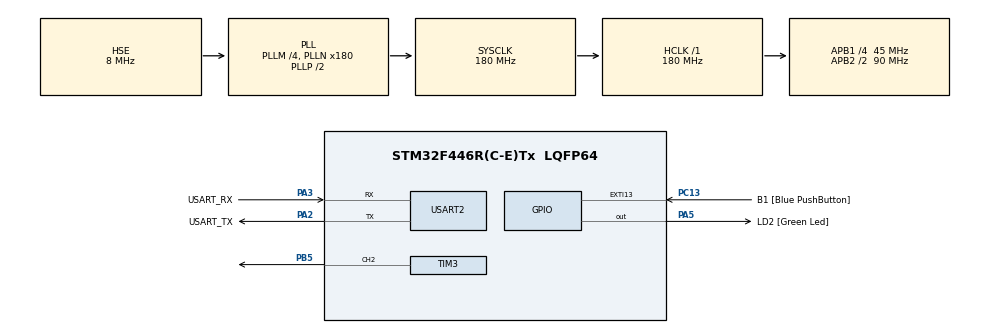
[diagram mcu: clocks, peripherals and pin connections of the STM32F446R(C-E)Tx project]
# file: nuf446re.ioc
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Mcu.Family=STM32F4
Mcu.Name=STM32F446R(C-E)Tx
Mcu.Package=LQFP64
NVIC.PriorityGroup=NVIC_PRIORITYGROUP_0
NVIC.TIM4_IRQn=true\:0\:0\:false\:false\:true\:true\:true\:true
NVIC.TIM8_UP_TIM13_IRQn=true\:0\:0\:true\:false\:true\:true\:true\:true
PA13.GPIO_Label=TMS
PA13.Mode=Trace_Asynchronous_SW
PA13.Signal=SYS_JTMS-SWDIO
PA14.GPIO_Label=TCK
PA14.Mode=Trace_Asynchronous_SW
PA14.Signal=SYS_JTCK-SWCLK
PA2.GPIO_Label=USART_TX
PA2.Mode=Asynchronous
PA2.Signal=USART2_TX
PA3.GPIO_Label=USART_RX
PA3.Mode=Asynchronous
PA3.Signal=USART2_RX
PA5.GPIO_Label=LD2 [Green Led]
PA5.Signal=GPIO_Output
PB3.GPIO_Label=SWO
PB3.Mode=Trace_Asynchronous_SW
PB3.Signal=SYS_JTDO-SWO
PB5.Signal=S_TIM3_CH2
PC13.GPIO_Label=B1 [Blue PushButton]
PC13.GPIO_ModeDefaultEXTI=GPIO_MODE_IT_FALLING
PC13.Signal=GPXTI13
PC14-OSC32_IN.Mode=LSE-External-Oscillator
PC14-OSC32_IN.Signal=RCC_OSC32_IN
PC15-OSC32_OUT.Mode=LSE-External-Oscillator
PC15-OSC32_OUT.Signal=RCC_OSC32_OUT
PH0-OSC_IN.Mode=HSE-External-Oscillator
PH0-OSC_IN.Signal=RCC_OSC_IN
PH1-OSC_OUT.Mode=HSE-External-Oscillator
PH1-OSC_OUT.Signal=RCC_OSC_OUT
ProjectManager.HeapSize=0x200
ProjectManager.StackSize=0x400
ProjectManager.TargetToolchain=STM32CubeIDE
RCC.48MHZClocksFreq_Value=84000000
RCC.AHBFreq_Value=180000000
RCC.APB1CLKDivider=RCC_HCLK_DIV4
RCC.APB1Freq_Value=45000000
RCC.APB1TimFreq_Value=90000000
RCC.APB2CLKDivider=RCC_HCLK_DIV2
RCC.APB2Freq_Value=90000000
RCC.APB2TimFreq_Value=180000000
RCC.CortexFreq_Value=180000000
RCC.FLatency-AdvancedSettings=FLASH_LATENCY_5
RCC.HCLKFreq_Value=180000000
RCC.HSE_VALUE=8000000
RCC.HSI_VALUE=16000000
RCC.PLLM=4
RCC.PLLN=180
RCC.PLLSourceVirtual=RCC_PLLSOURCE_HSE
RCC.SYSCLKFreq_VALUE=180000000
RCC.SYSCLKSource=RCC_SYSCLKSOURCE_PLLCLK
RCC.USBFreq_Value=180000000
RCC.VCOOutputFreq_Value=360000000
SH.S_TIM3_CH2.0=TIM3_CH2,PWM Generation2 CH2
TIM13.AutoReloadPreload=TIM_AUTORELOAD_PRELOAD_DISABLE
TIM13.ClockDivision=TIM_CLOCKDIVISION_DIV4
TIM13.Period=100
TIM13.Prescaler=22500
TIM14.Prescaler=89
TIM3.Channel-PWM\ Generation2\ CH2=TIM_CHANNEL_2
USART2.VirtualMode=VM_ASYNC
VP_TIM13_VS_ClockSourceINT.Mode=Enable_Timer
VP_TIM14_VS_ClockSourceINT.Mode=Enable_Timer
VP_TIM2_VS_ClockSourceINT.Mode=Internal
VP_TIM4_VS_ClockSourceINT.Mode=Internal
VP_TIM5_VS_ClockSourceINT.Mode=Internal
board=NUCLEO-F446RE

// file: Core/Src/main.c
/* USER CODE BEGIN Header */
/**
 ******************************************************************************
 * @file           : main.c
 * @brief          : Main program body
 ******************************************************************************
 * @attention
 *
 * Copyright (c) 2025 STMicroelectronics.
 * All rights reserved.
 *
 * This software is licensed under terms that can be found in the LICENSE file
 * in the root directory of this software component.
 * If no LICENSE file comes with this software, it is provided AS-IS.
 *
 ******************************************************************************
 */
/* USER CODE END Header */
#include "main.h"

/* USER CODE BEGIN Includes */
#include "string.h"
/* USER CODE END Includes */

TIM_HandleTypeDef htim2;
TIM_HandleTypeDef htim3;
TIM_HandleTypeDef htim4;
TIM_HandleTypeDef htim5;
TIM_HandleTypeDef htim13;
TIM_HandleTypeDef htim14;

UART_HandleTypeDef huart2;

/* USER CODE BEGIN PV */
uint8_t UartBuf[0x100];
uint8_t *UartBufPointer;
uint8_t UartDataCount;		// 送信したデータサイズ
uint8_t UartDataSize;		// 送信するデータサイズ
/* USER CODE END PV */

void SystemClock_Config(void);
static void MX_GPIO_Init(void);
static void MX_USART2_UART_Init(void);
static void MX_TIM2_Init(void);
static void MX_TIM3_Init(void);
static void MX_TIM5_Init(void);
static void MX_TIM13_Init(void);
static void MX_TIM14_Init(void);
static void MX_TIM4_Init(void);

/* USER CODE BEGIN 0 */
void HAL_TIM_PeriodElapsedCallback(TIM_HandleTypeDef *htim)
{
	if (htim == &htim13) {
		HAL_GPIO_TogglePin(LD2_GPIO_Port, LD2_Pin);
	}
	else if (htim == &htim4) {
		if (UartDataCount < UartDataSize) {
			huart2.Instance->DR = UartBufPointer[UartDataCount++];
		}
		else {
			HAL_TIM_Base_Stop_IT(&htim14);
		}
	}
}

void uart_transmit(uint8_t *pData, uint16_t size)
{
	UartDataSize = size;
	UartBufPointer = pData;
	__HAL_TIM_SET_COUNTER(&htim4, 0);
	__HAL_TIM_SET_AUTORELOAD(&htim4, 10);
	HAL_TIM_Base_Start_IT(&htim4);		// TIM4スタート

}

/* USER CODE END 0 */

int main(void)
{

	/* MCU Configuration--------------------------------------------------------*/

	/* Reset of all peripherals, Initializes the Flash interface and the Systick. */
	HAL_Init();

	/* Configure the system clock */
	SystemClock_Config();

	/* Initialize all configured peripherals */
	MX_GPIO_Init();
	MX_USART2_UART_Init();
	MX_TIM2_Init();
	MX_TIM3_Init();
	MX_TIM5_Init();
	MX_TIM13_Init();
	MX_TIM14_Init();
	MX_TIM4_Init();
	/* USER CODE BEGIN 2 */

/*
 * 		TIMx Specification
 * -------------------------------------
 * TIM1:	Advanced	APB2(180MHz)	16bit
 * TIM2:	General		APB1(90MHz)		32bit
 * TIM3:	General		APB1(90MHz)		16bit
 * TIM4:	General		APB1(90MHz)		16bit
 * TIM5:	General		APB1(90MHz)		32bit
 * TIM6:	Basic		APB1(90MHz)		16bit
 * TIM7:	Basic		APB1(90MHz)		16bit
 * TIM8:	Advanced	APB2(180MHz)	16bit
 * TIM9:	General		APB2(180MHz)	16bit
 * TIM10:	General		ABP2(180MHz)	16bit
 * TIM11:	General		APB2(180MHz)	16bit
 * TIM12:	General		APB1(90MHz)		16bit
 * TIM13:	General		APB1(90MHz)		16bit	Prescaled to 1kHz. 1cyele = 1ms.
 * TIM14:	General		APB1(90MHz)		16bit	Prescaled to 1MHz. 1cyele = 1us.
 *
*/

	HAL_TIM_Base_Start_IT(&htim13); // TIM13スタート

	// これで1usウェイトになる
	HAL_TIM_Base_Start(&htim14);	   // TIM14スタート
	__HAL_TIM_SET_COUNTER(&htim14, 0); // TIM14カウンタに0をセット
	while (__HAL_TIM_GET_COUNTER(&htim14) < 1); // TIM14カウンタが1未満のときループ

	/* USER CODE END 2 */

	/* Infinite loop */
	while (1)
	{

	}
}

void SystemClock_Config(void)
{
	RCC_OscInitTypeDef RCC_OscInitStruct = {0};
	RCC_ClkInitTypeDef RCC_ClkInitStruct = {0};

	/** Configure the main internal regulator output voltage
	 */
	__HAL_RCC_PWR_CLK_ENABLE();
	__HAL_PWR_VOLTAGESCALING_CONFIG(PWR_REGULATOR_VOLTAGE_SCALE1);

	/** Initializes the RCC Oscillators according to the specified parameters
	 * in the RCC_OscInitTypeDef structure.
	 */
	RCC_OscInitStruct.OscillatorType = RCC_OSCILLATORTYPE_HSE;
	RCC_OscInitStruct.HSEState = RCC_HSE_ON;
	RCC_OscInitStruct.PLL.PLLState = RCC_PLL_ON;
	RCC_OscInitStruct.PLL.PLLSource = RCC_PLLSOURCE_HSE;
	RCC_OscInitStruct.PLL.PLLM = 4;
	RCC_OscInitStruct.PLL.PLLN = 180;
	RCC_OscInitStruct.PLL.PLLP = RCC_PLLP_DIV2;
	RCC_OscInitStruct.PLL.PLLQ = 2;
	RCC_OscInitStruct.PLL.PLLR = 2;
	if (HAL_RCC_OscConfig(&RCC_OscInitStruct) != HAL_OK)
	{
		Error_Handler();
	}

	/** Activate the Over-Drive mode
	 */
	if (HAL_PWREx_EnableOverDrive() != HAL_OK)
	{
		Error_Handler();
	}

	/** Initializes the CPU, AHB and APB buses clocks
	 */
	RCC_ClkInitStruct.ClockType = RCC_CLOCKTYPE_HCLK | RCC_CLOCKTYPE_SYSCLK | RCC_CLOCKTYPE_PCLK1 | RCC_CLOCKTYPE_PCLK2;
	RCC_ClkInitStruct.SYSCLKSource = RCC_SYSCLKSOURCE_PLLCLK;
	RCC_ClkInitStruct.AHBCLKDivider = RCC_SYSCLK_DIV1;
	RCC_ClkInitStruct.APB1CLKDivider = RCC_HCLK_DIV4;
	RCC_ClkInitStruct.APB2CLKDivider = RCC_HCLK_DIV2;

	if (HAL_RCC_ClockConfig(&RCC_ClkInitStruct, FLASH_LATENCY_5) != HAL_OK)
	{
		Error_Handler();
	}
}

static void MX_TIM2_Init(void)
{

	TIM_ClockConfigTypeDef sClockSourceConfig = {0};
	TIM_MasterConfigTypeDef sMasterConfig = {0};

	htim2.Instance = TIM2;
	htim2.Init.Prescaler = 0;
	htim2.Init.CounterMode = TIM_COUNTERMODE_UP;
	htim2.Init.Period = 4294967295;
	htim2.Init.ClockDivision = TIM_CLOCKDIVISION_DIV1;
	htim2.Init.AutoReloadPreload = TIM_AUTORELOAD_PRELOAD_DISABLE;
	if (HAL_TIM_Base_Init(&htim2) != HAL_OK)
	{
		Error_Handler();
	}
	sClockSourceConfig.ClockSource = TIM_CLOCKSOURCE_INTERNAL;
	if (HAL_TIM_ConfigClockSource(&htim2, &sClockSourceConfig) != HAL_OK)
	{
		Error_Handler();
	}
	sMasterConfig.MasterOutputTrigger = TIM_TRGO_RESET;
	sMasterConfig.MasterSlaveMode = TIM_MASTERSLAVEMODE_DISABLE;
	if (HAL_TIMEx_MasterConfigSynchronization(&htim2, &sMasterConfig) != HAL_OK)
	{
		Error_Handler();
	}
}

static void MX_TIM3_Init(void)
{

	TIM_MasterConfigTypeDef sMasterConfig = {0};
	TIM_OC_InitTypeDef sConfigOC = {0};

	htim3.Instance = TIM3;
	htim3.Init.Prescaler = 0;
	htim3.Init.CounterMode = TIM_COUNTERMODE_UP;
	htim3.Init.Period = 65535;
	htim3.Init.ClockDivision = TIM_CLOCKDIVISION_DIV1;
	htim3.Init.AutoReloadPreload = TIM_AUTORELOAD_PRELOAD_DISABLE;
	if (HAL_TIM_PWM_Init(&htim3) != HAL_OK)
	{
		Error_Handler();
	}
	sMasterConfig.MasterOutputTrigger = TIM_TRGO_RESET;
	sMasterConfig.MasterSlaveMode = TIM_MASTERSLAVEMODE_DISABLE;
	if (HAL_TIMEx_MasterConfigSynchronization(&htim3, &sMasterConfig) != HAL_OK)
	{
		Error_Handler();
	}
	sConfigOC.OCMode = TIM_OCMODE_PWM1;
	sConfigOC.Pulse = 0;
	sConfigOC.OCPolarity = TIM_OCPOLARITY_HIGH;
	sConfigOC.OCFastMode = TIM_OCFAST_DISABLE;
	if (HAL_TIM_PWM_ConfigChannel(&htim3, &sConfigOC, TIM_CHANNEL_2) != HAL_OK)
	{
		Error_Handler();
	}
	HAL_TIM_MspPostInit(&htim3);
}

static void MX_TIM4_Init(void)
{

	TIM_ClockConfigTypeDef sClockSourceConfig = {0};
	TIM_MasterConfigTypeDef sMasterConfig = {0};

	htim4.Instance = TIM4;
	htim4.Init.Prescaler = 0;
	htim4.Init.CounterMode = TIM_COUNTERMODE_UP;
	htim4.Init.Period = 65535;
	htim4.Init.ClockDivision = TIM_CLOCKDIVISION_DIV1;
	htim4.Init.AutoReloadPreload = TIM_AUTORELOAD_PRELOAD_DISABLE;
	if (HAL_TIM_Base_Init(&htim4) != HAL_OK)
	{
		Error_Handler();
	}
	sClockSourceConfig.ClockSource = TIM_CLOCKSOURCE_INTERNAL;
	if (HAL_TIM_ConfigClockSource(&htim4, &sClockSourceConfig) != HAL_OK)
	{
		Error_Handler();
	}
	sMasterConfig.MasterOutputTrigger = TIM_TRGO_RESET;
	sMasterConfig.MasterSlaveMode = TIM_MASTERSLAVEMODE_DISABLE;
	if (HAL_TIMEx_MasterConfigSynchronization(&htim4, &sMasterConfig) != HAL_OK)
	{
		Error_Handler();
	}
}

static void MX_TIM5_Init(void)
{

	TIM_ClockConfigTypeDef sClockSourceConfig = {0};
	TIM_MasterConfigTypeDef sMasterConfig = {0};

	htim5.Instance = TIM5;
	htim5.Init.Prescaler = 0;
	htim5.Init.CounterMode = TIM_COUNTERMODE_UP;
	htim5.Init.Period = 4294967295;
	htim5.Init.ClockDivision = TIM_CLOCKDIVISION_DIV1;
	htim5.Init.AutoReloadPreload = TIM_AUTORELOAD_PRELOAD_DISABLE;
	if (HAL_TIM_Base_Init(&htim5) != HAL_OK)
	{
		Error_Handler();
	}
	sClockSourceConfig.ClockSource = TIM_CLOCKSOURCE_INTERNAL;
	if (HAL_TIM_ConfigClockSource(&htim5, &sClockSourceConfig) != HAL_OK)
	{
		Error_Handler();
	}
	sMasterConfig.MasterOutputTrigger = TIM_TRGO_RESET;
	sMasterConfig.MasterSlaveMode = TIM_MASTERSLAVEMODE_DISABLE;
	if (HAL_TIMEx_MasterConfigSynchronization(&htim5, &sMasterConfig) != HAL_OK)
	{
		Error_Handler();
	}
}

static void MX_TIM13_Init(void)
{

	htim13.Instance = TIM13;
	htim13.Init.Prescaler = 22500;
	htim13.Init.CounterMode = TIM_COUNTERMODE_UP;
	htim13.Init.Period = 100;
	htim13.Init.ClockDivision = TIM_CLOCKDIVISION_DIV4;
	htim13.Init.AutoReloadPreload = TIM_AUTORELOAD_PRELOAD_DISABLE;
	if (HAL_TIM_Base_Init(&htim13) != HAL_OK)
	{
		Error_Handler();
	}
}

static void MX_TIM14_Init(void)
{

	htim14.Instance = TIM14;
	htim14.Init.Prescaler = 89;
	htim14.Init.CounterMode = TIM_COUNTERMODE_UP;
	htim14.Init.Period = 65535;
	htim14.Init.ClockDivision = TIM_CLOCKDIVISION_DIV1;
	htim14.Init.AutoReloadPreload = TIM_AUTORELOAD_PRELOAD_DISABLE;
	if (HAL_TIM_Base_Init(&htim14) != HAL_OK)
	{
		Error_Handler();
	}
}

static void MX_USART2_UART_Init(void)
{

	huart2.Instance = USART2;
	huart2.Init.BaudRate = 115200;
	huart2.Init.WordLength = UART_WORDLENGTH_8B;
	huart2.Init.StopBits = UART_STOPBITS_1;
	huart2.Init.Parity = UART_PARITY_NONE;
	huart2.Init.Mode = UART_MODE_TX_RX;
	huart2.Init.HwFlowCtl = UART_HWCONTROL_NONE;
	huart2.Init.OverSampling = UART_OVERSAMPLING_16;
	if (HAL_UART_Init(&huart2) != HAL_OK)
	{
		Error_Handler();
	}
}

static void MX_GPIO_Init(void)
{
	GPIO_InitTypeDef GPIO_InitStruct = {0};

	/* GPIO Ports Clock Enable */
	__HAL_RCC_GPIOC_CLK_ENABLE();
	__HAL_RCC_GPIOH_CLK_ENABLE();
	__HAL_RCC_GPIOA_CLK_ENABLE();
	__HAL_RCC_GPIOB_CLK_ENABLE();

	/*Configure GPIO pin Output Level */
	HAL_GPIO_WritePin(LD2_GPIO_Port, LD2_Pin, GPIO_PIN_RESET);

	/*Configure GPIO pin : B1_Pin */
	GPIO_InitStruct.Pin = B1_Pin;
	GPIO_InitStruct.Mode = GPIO_MODE_IT_FALLING;
	GPIO_InitStruct.Pull = GPIO_NOPULL;
	HAL_GPIO_Init(B1_GPIO_Port, &GPIO_InitStruct);

	/*Configure GPIO pin : LD2_Pin */
	GPIO_InitStruct.Pin = LD2_Pin;
	GPIO_InitStruct.Mode = GPIO_MODE_OUTPUT_PP;
	GPIO_InitStruct.Pull = GPIO_NOPULL;
	GPIO_InitStruct.Speed = GPIO_SPEED_FREQ_LOW;
	HAL_GPIO_Init(LD2_GPIO_Port, &GPIO_InitStruct);

}

void Error_Handler(void)
{
	__disable_irq();
	while (1)
	{
	}
}
